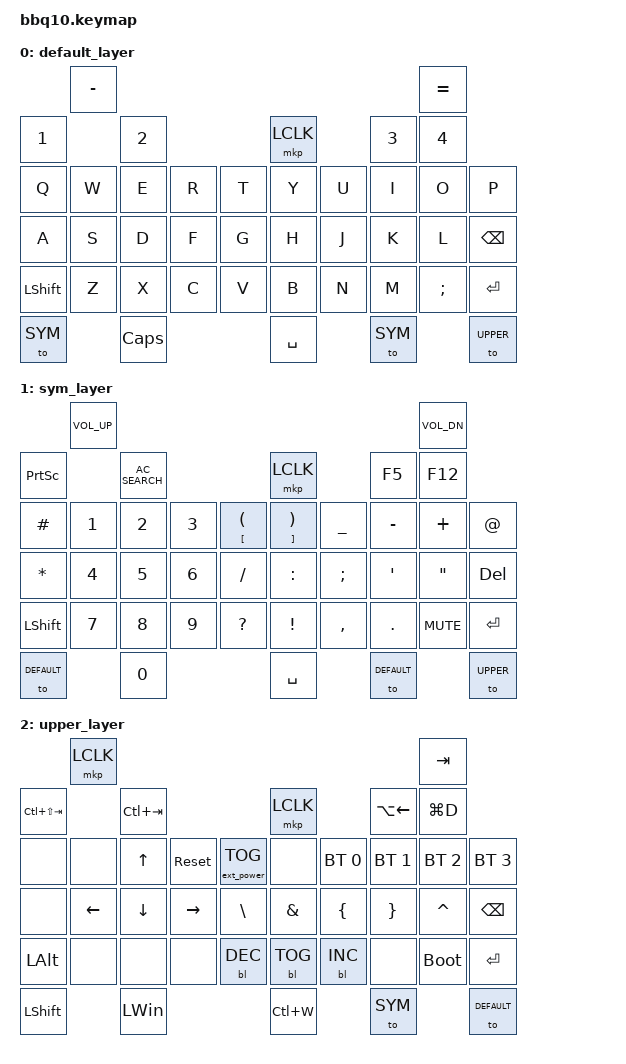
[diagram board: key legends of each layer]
/*
 * Copyright (c) 2023 ZitaoTech
 *
 * SPDX-License-Identifier: MIT
 */

#include <behaviors.dtsi>
#include <dt-bindings/zmk/keys.h>
#include <dt-bindings/zmk/bt.h>
#include <dt-bindings/zmk/outputs.h>
#include <dt-bindings/zmk/mouse.h>
#include <dt-bindings/zmk/backlight.h>
#include <dt-bindings/zmk/ext_power.h>
  
#define DEFAULT 0
#define SYM 1
#define UPPER 2


/ {
    behaviors {
        td0: tap_dance_0 {
            compatible = "zmk,behavior-tap-dance";
            #binding-cells = <0>;
            tapping-term-ms = <400>;
            bindings = <&mkp LCLK>, <&bt BT_CLR>;
        };
    };
    behaviors {
        hm: homerow_mods {
            compatible = "zmk,behavior-hold-tap";
            #binding-cells = <2>;
            tapping-term-ms = <500>;
            bindings = <&out &kp>;
        };
    };

    keymap {
        compatible = "zmk,keymap";

        default_layer {

            bindings = <
//         --------------------------------------------------------------------------------------------------------------------------         
//         |    Shoulder Key1    |                                                                             |    Shoulder Key2    |     
// |         Call key      |      Blackberry Key        |    Trackpad    |             Back Key                |             Endcall Key          |
// |     Q      |     W    |     E    |     R    |      T      |       Y        |       U        |        I        |       O      |      P        |     
// |     A      |     S    |     D    |     F    |      G      |       H        |       J        |        K        |       L      |      ←        |  
// |     alt    |     Z    |     X    |     C    |      V      |       B        |       N        |        M        |       $      |    Enter      |   
//        |         aA     |         0           |           SPACE              |         SYM         |        aA          |       
//        -----------------------------------------------------------------------------------------------------------------

                 &kp MINUS                                                                                          &kp EQUAL
    &kp N1                &kp N2                            &mkp LCLK                          &kp N3                    &kp N4
    &kp Q        &kp W      &kp E       &kp R     &kp T         &kp Y             &kp U            &kp I            &kp O            &kp P
    &kp A        &kp S      &kp D       &kp F     &kp G         &kp H             &kp J            &kp K            &kp L            &kp BSPC
    &kp LSHFT    &kp Z      &kp X       &kp C     &kp V         &kp B             &kp N            &kp M            &kp SEMI         &kp ENTER
    &to SYM               &kp CAPSLOCK                            &kp SPACE                          &to SYM                           &to UPPER
            >;
        };


        sym_layer {

            bindings = <        
                 &kp C_VOL_UP                                                                                       &kp C_VOL_DN
    &kp PSCRN               &kp C_AC_SEARCH                     &mkp LCLK                          &kp F5                            &kp F12 
    &kp HASH     &kp N1     &kp N2      &kp N3    &mt LBKT LPAR &mt RBKT RPAR     &kp UNDER        &kp MINUS        &kp PLUS         &kp AT
    &kp STAR     &kp N4     &kp N5      &kp N6    &kp SLASH     &kp COLON         &kp SEMI         &kp APOS         &kp DQT          &kp DEL
    &kp LSHFT    &kp N7     &kp N8      &kp N9    &kp QMARK     &kp EXCL          &kp COMMA        &kp DOT          &kp C_MUTE       &kp ENTER
    &to DEFAULT               &kp N0                              &kp SPACE                          &to DEFAULT                       &to UPPER
            >;
        };

        upper_layer {

            bindings = <
                 &mkp LCLK                                                                                       &kp TAB
    &kp LC(LS(TAB))             &kp LC(TAB)                             &mkp LCLK                           &kp LA(LEFT)                    &kp LG(D)
    &none       &none     &kp UP       &sys_reset &ext_power EP_TOG &none         &bt BT_SEL 0           &bt BT_SEL 1          &bt BT_SEL 2         &bt BT_SEL 3
    &none     &kp LEFT   &kp DOWN   &kp RIGHT      &kp BSLH          &kp AMPS      &kp LBRC         &kp RBRC        &kp CARET        &kp BSPC
    &kp LALT    &none      &none       &none      &bl BL_DEC        &bl BL_TOG    &bl BL_INC       &none           &bootloader      &kp ENTER
    &kp LSHFT               &kp LEFT_WIN                                 &kp LC(W)              &to SYM                          &to DEFAULT
            >;
        };
    };
};

